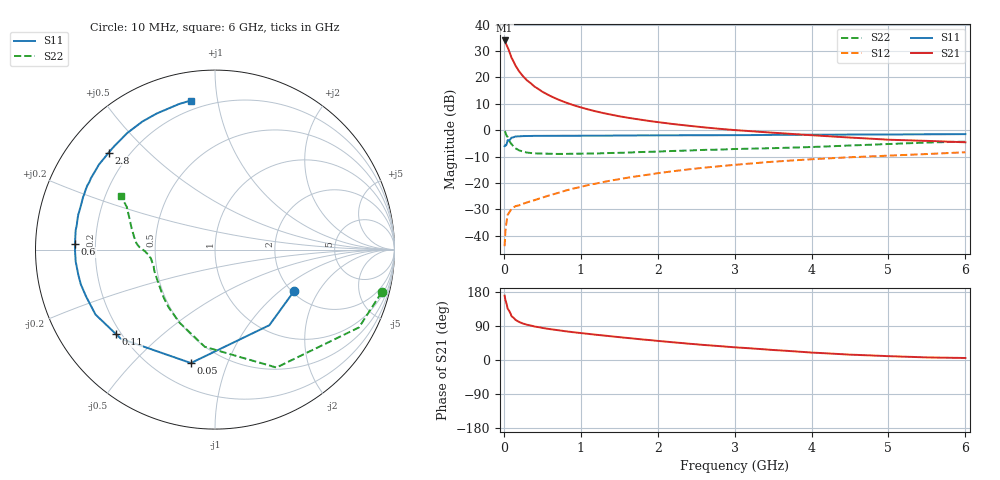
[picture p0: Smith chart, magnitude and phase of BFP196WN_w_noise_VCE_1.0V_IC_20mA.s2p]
! Infineon Technologies  Discrete & RF Semiconductors
! BFP196WN
! VCE =  1.0 V,  IC =  20 mA
! Common Emitter S-Parameters:  Jan 2017
# GHz  S  MA  R  50
!  f  S11  S21  S12  S22
! GHz  MAG  ANG  MAG  ANG  MAG  ANG  MAG  ANG
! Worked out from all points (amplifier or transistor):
!   77 points, 10 MHz to 6 GHz, reference 50 ohm
!   highest |S21| = 34.0 dB at 10 MHz (marker M1)
!   |S21| within 3 dB of that: start of sweep to 54.79 MHz
!   unconditionally stable (mu >= 1): 852.1 MHz to 3.197 GHz
!   at 130 MHz: K = 0.32, MSG = 27.5 dB, |S12| = -29.2 dB
!   at 2.2 GHz: K = 1.04, MAG = 7.7 dB, |S12| = -15.6 dB
!   at 6 GHz: K = 0.95, MSG = 1.9 dB, |S12| = -8.4 dB
!   lowest NFmin = 0.96 dB at 450 MHz
!   S11 on the Smith chart (normalised r, x): 10 MHz: 2.06, -1.26; 50 MHz: 0.35, -0.75; 110 MHz: 0.18, -0.36; 600 MHz: 0.12, +0.02; 2.8 GHz: 0.13, +0.38; 6 GHz: 0.15, +0.84
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0.01  0.4976 -27.6  50.3 170.0  0.0063 80.5  0.9585 -14.4
0.02  0.5188 -54.3  47.05 158.8  0.0121 71.3  0.9118 -28.4
0.05  0.6462 -102.0  37.04 135.3  0.0247 53.0  0.7408 -62.5
0.1  0.7222 -136.6  23.67 115.6  0.0321 39.5  0.5444 -96.0
0.11  0.7253 -139.7  22.28 114.2  0.0329 38.5  0.5216 -99.4
0.15  0.7577 -151.5  16.91 106.1  0.0361 35.1  0.4527 -115.8
0.2  0.7644 -160.0  12.98 100.2  0.0376 36.5  0.4135 -128.5
0.25  0.7722 -165.5  10.52 96.1  0.0402 37.1  0.391 -137.0
0.3  0.7744 -169.5  8.831 93.1  0.0425 39.3  0.3758 -143.6
0.4  0.7792 -175.2  6.687 88.3  0.0471 43.5  0.3635 -152.0
0.5  0.7796 -179.2  5.363 84.7  0.0525 47.1  0.3598 -157.7
0.6  0.7807 177.6  4.484 81.5  0.0584 50.2  0.3571 -161.9
0.7  0.7814 174.8  3.842 78.8  0.0642 53.0  0.3541 -164.7
0.8  0.7837 172.1  3.369 75.9  0.0713 54.9  0.3545 -166.7
1.1  0.7863 165.7  2.466 68.9  0.091 57.4  0.3597 -171.6
1.5  0.7909 158.5  1.835 60.3  0.1176 58.7  0.3715 -175.7
2.1  0.7975 148.5  1.364 48.6  0.1594 57.4  0.398 -179.5
2.8  0.802 137.6  1.062 36.7  0.2067 53.5  0.4276 177.2
3.1  0.8048 133.0  0.981 32.2  0.2262 51.1  0.4422 174.6
4.1  0.8204 118.2  0.786 18.6  0.2857 43.3  0.485 164.4
5.1  0.8292 107.2  0.652 9.5  0.3332 36.0  0.5531 153.7
6  0.8412 99.3  0.589 5.3  0.381 30.1  0.6051 150.3
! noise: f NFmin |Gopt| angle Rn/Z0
0.45  0.96  0.4  169  0.05
0.9  1.1  0.5  179  0.05
1.9  2.1  0.69  210  0.12
2.4  2.86  0.7  216  0.23
